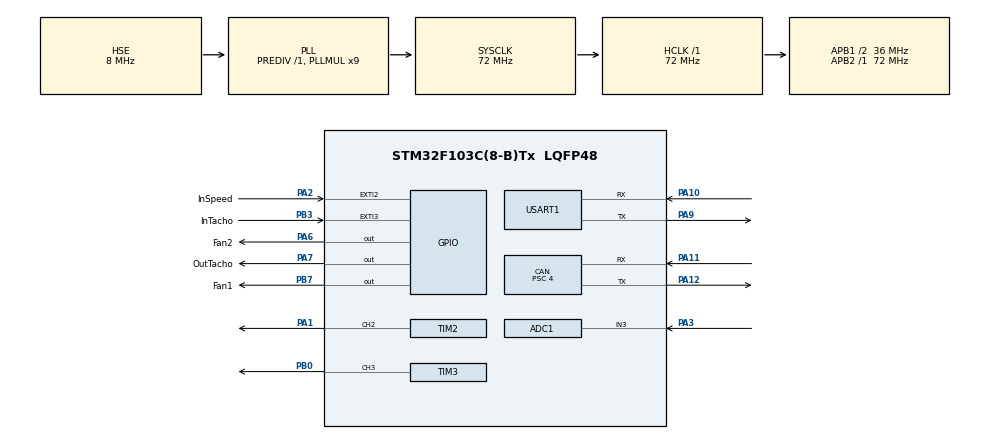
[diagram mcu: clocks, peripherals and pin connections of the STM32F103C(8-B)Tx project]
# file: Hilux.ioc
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ADC1.Channel-0\#ChannelRegularConversion=ADC_CHANNEL_3
ADC1.NbrOfConversionFlag=1
ADC1.Rank-0\#ChannelRegularConversion=1
ADC1.SamplingTime-0\#ChannelRegularConversion=ADC_SAMPLETIME_239CYCLES_5
ADC1.master=1
CAN.AWUM=ENABLE
CAN.BS1=CAN_BS1_15TQ
CAN.BS2=CAN_BS2_2TQ
CAN.CalculateBaudRate=500000
CAN.CalculateTimeBit=2000
CAN.CalculateTimeQuantum=111.11111111111111
CAN.NART=ENABLE
CAN.Prescaler=4
CAN.TTCM=ENABLE
CAN.TXFP=ENABLE
FREERTOS.Tasks01=defaultTask,24,128,StartDefaultTask,Default,NULL,Static,defaultTaskBuffer,defaultTaskControlBlock;myTask02,24,128,StartTask02,Default,NULL,Static,myTask02Buffer,myTask02ControlBlock;myTask03,24,128,StartTask03,Default,NULL,Static,myTask03Buffer,myTask03ControlBlock;myTask04,24,128,StartTask04,Default,NULL,Static,myTask04Buffer,myTask04ControlBlock;myTask05,24,128,StartTask05,Default,NULL,Static,myTask05Buffer,myTask05ControlBlock;myTask06,24,128,StartTask06,Default,NULL,Static,myTask06Buffer,myTask06ControlBlock;myTask07,24,128,StartTask07,Default,NULL,Static,myTask07Buffer,myTask07ControlBlock;myTask08,24,128,StartTask08,Default,NULL,Static,myTask08Buffer,myTask08ControlBlock
FREERTOS.configUSE_NEWLIB_REENTRANT=1
Mcu.Family=STM32F1
Mcu.Name=STM32F103C(8-B)Tx
Mcu.Package=LQFP48
NVIC.ADC1_2_IRQn=true\:5\:0\:false\:false\:true\:true\:true\:true\:true
NVIC.EXTI2_IRQn=true\:5\:0\:false\:false\:true\:true\:true\:true\:true
NVIC.EXTI3_IRQn=true\:5\:0\:false\:false\:true\:true\:true\:true\:true
NVIC.PriorityGroup=NVIC_PRIORITYGROUP_4
NVIC.TIM2_IRQn=true\:5\:0\:false\:false\:true\:true\:true\:true\:true
NVIC.TIM3_IRQn=true\:5\:0\:false\:false\:true\:true\:true\:true\:true
NVIC.TIM4_IRQn=true\:15\:0\:false\:false\:true\:false\:false\:true\:true
NVIC.TimeBase=TIM4_IRQn
NVIC.TimeBaseIP=TIM4
NVIC.USB_LP_CAN1_RX0_IRQn=true\:5\:0\:false\:false\:true\:true\:true\:true\:true
PA1.GPIO_Speed=GPIO_SPEED_FREQ_HIGH
PA1.Signal=S_TIM2_CH2
PA10.Mode=Asynchronous
PA10.Signal=USART1_RX
PA11.Mode=CAN_Activate
PA11.Signal=CAN_RX
PA12.Mode=CAN_Activate
PA12.Signal=CAN_TX
PA13.Mode=Serial_Wire
PA13.Signal=SYS_JTMS-SWDIO
PA14.Mode=Serial_Wire
PA14.Signal=SYS_JTCK-SWCLK
PA2.GPIO_Label=InSpeed
PA2.Signal=GPXTI2
PA3.Signal=ADCx_IN3
PA6.GPIO_Label=Fan2
PA6.Signal=GPIO_Output
PA7.GPIO_Label=OutTacho
PA7.GPIO_Speed=GPIO_SPEED_FREQ_LOW
PA7.PinState=GPIO_PIN_SET
PA7.Signal=GPIO_Output
PA9.Mode=Asynchronous
PA9.Signal=USART1_TX
PB0.Signal=S_TIM3_CH3
PB3.GPIO_Label=InTacho
PB3.GPIO_ModeDefaultEXTI=GPIO_MODE_IT_FALLING
PB3.GPIO_PuPd=GPIO_PULLUP
PB3.Signal=GPXTI3
PB7.GPIO_Label=Fan1
PB7.Signal=GPIO_Output
PD0-OSC_IN.Mode=HSE-External-Oscillator
PD0-OSC_IN.Signal=RCC_OSC_IN
PD1-OSC_OUT.Mode=HSE-External-Oscillator
PD1-OSC_OUT.Signal=RCC_OSC_OUT
ProjectManager.HeapSize=0x200
ProjectManager.StackSize=0x400
ProjectManager.TargetToolchain=STM32CubeIDE
RCC.ADCPresc=RCC_ADCPCLK2_DIV6
RCC.AHBFreq_Value=72000000
RCC.APB1CLKDivider=RCC_HCLK_DIV2
RCC.APB1Freq_Value=36000000
RCC.APB1TimFreq_Value=72000000
RCC.APB2Freq_Value=72000000
RCC.APB2TimFreq_Value=72000000
RCC.HCLKFreq_Value=72000000
RCC.PLLMUL=RCC_PLL_MUL9
RCC.PLLSourceVirtual=RCC_PLLSOURCE_HSE
RCC.SYSCLKFreq_VALUE=72000000
RCC.SYSCLKSource=RCC_SYSCLKSOURCE_PLLCLK
RCC.USBFreq_Value=72000000
SH.ADCx_IN3.0=ADC1_IN3,IN3
SH.S_TIM2_CH2.0=TIM2_CH2,PWM Generation2 CH2
SH.S_TIM3_CH3.0=TIM3_CH3,PWM Generation3 CH3
TIM1.AutoReloadPreload=TIM_AUTORELOAD_PRELOAD_DISABLE
TIM1.Prescaler=719
TIM2.AutoReloadPreload=TIM_AUTORELOAD_PRELOAD_ENABLE
TIM2.Channel-PWM\ Generation2\ CH2=TIM_CHANNEL_2
TIM2.Period=65000
TIM2.Prescaler=43
TIM2.Pulse-PWM\ Generation2\ CH2=47000
TIM3.AutoReloadPreload=TIM_AUTORELOAD_PRELOAD_ENABLE
TIM3.Channel-PWM\ Generation3\ CH3=TIM_CHANNEL_3
TIM3.OCFastMode_PWM-PWM\ Generation3\ CH3=TIM_OCFAST_ENABLE
TIM3.Period=63488
TIM3.Prescaler=470
USART1.VirtualMode=VM_ASYNC
VP_FREERTOS_VS_CMSIS_V2.Mode=CMSIS_V2
VP_SYS_VS_tim4.Mode=TIM4
VP_TIM1_VS_ClockSourceINT.Mode=Internal
VP_TIM2_VS_ClockSourceINT.Mode=Internal
VP_TIM3_VS_ClockSourceINT.Mode=Internal
board=custom

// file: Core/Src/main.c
/* USER CODE BEGIN Header */
/**
 ******************************************************************************
 * @file           : main.c
 * @brief          : Main program body
 ******************************************************************************
 * @attention
 *
 * Copyright (c) 2023 STMicroelectronics.
 * All rights reserved.
 *
 * This software is licensed under terms that can be found in the LICENSE file
 * in the root directory of this software component.
 * If no LICENSE file comes with this software, it is provided AS-IS.
 *
 ******************************************************************************
 */
/* USER CODE END Header */
#include "main.h"
#include "cmsis_os.h"

/* USER CODE BEGIN Includes */
#include "stdio.h"
struct tps_rpm {
  uint8_t tmp;
  uint16_t rpm;
  uint16_t count;
  int procent;
  uint16_t adc;
  double coef;
} tps_rpm;
#include "SMA_filter_lib.h"
uint16_t SMA_Filter_Buffer_1[SMA_FILTER_ORDER] = {
    0,
};
uint16_t SMA_Filter_Buffer_2[SMA_FILTER_ORDER] = {
    0,
};
uint16_t ADC_SMA_Data[2] = {
    0,
};
uint16_t ADC_RAW_Data[2] = { 0, };
uint8_t transmitUART[30];
uint8_t AC = 0;
uint8_t debug = 0;
/* USER CODE END Includes */

typedef StaticTask_t osStaticThreadDef_t;
/* USER CODE BEGIN PTD */
// Скалинг датчика температуры
// Первое значение - температура в градусах+40
// второе значение - ADC, которое считается по формуле
double scale_temp[2][28] = {
    {160, 150, 140, 134, 133, 132, 131, 130, 129, 128, 126,  124,  122,  121,  118, 110, 102,  96,   88,   80,   72,   64,   56,   48,   40,   32,   24,    0},
    {200, 250, 265, 295, 310, 325, 330, 325, 331, 362, 377,  400,  415,  419,  470, 615, 765, 915, 1065, 1215, 1415, 1615, 1695, 1815, 1965, 2115, 2265, 2650}};

/* USER CODE END PTD */

ADC_HandleTypeDef hadc1;

CAN_HandleTypeDef hcan;

TIM_HandleTypeDef htim1;
TIM_HandleTypeDef htim2;
TIM_HandleTypeDef htim3;

UART_HandleTypeDef huart1;

/* Definitions for defaultTask */
osThreadId_t defaultTaskHandle;
uint32_t defaultTaskBuffer[ 128 ];
osStaticThreadDef_t defaultTaskControlBlock;
const osThreadAttr_t defaultTask_attributes = {
  .name = "defaultTask",
  .cb_mem = &defaultTaskControlBlock,
  .cb_size = sizeof(defaultTaskControlBlock),
  .stack_mem = &defaultTaskBuffer[0],
  .stack_size = sizeof(defaultTaskBuffer),
  .priority = (osPriority_t) osPriorityNormal,
};
/* Definitions for myTask02 */
osThreadId_t myTask02Handle;
uint32_t myTask02Buffer[ 128 ];
osStaticThreadDef_t myTask02ControlBlock;
const osThreadAttr_t myTask02_attributes = {
  .name = "myTask02",
  .cb_mem = &myTask02ControlBlock,
  .cb_size = sizeof(myTask02ControlBlock),
  .stack_mem = &myTask02Buffer[0],
  .stack_size = sizeof(myTask02Buffer),
  .priority = (osPriority_t) osPriorityNormal,
};
/* Definitions for myTask03 */
osThreadId_t myTask03Handle;
uint32_t myTask03Buffer[ 128 ];
osStaticThreadDef_t myTask03ControlBlock;
const osThreadAttr_t myTask03_attributes = {
  .name = "myTask03",
  .cb_mem = &myTask03ControlBlock,
  .cb_size = sizeof(myTask03ControlBlock),
  .stack_mem = &myTask03Buffer[0],
  .stack_size = sizeof(myTask03Buffer),
  .priority = (osPriority_t) osPriorityNormal,
};
/* Definitions for myTask04 */
osThreadId_t myTask04Handle;
uint32_t myTask04Buffer[ 128 ];
osStaticThreadDef_t myTask04ControlBlock;
const osThreadAttr_t myTask04_attributes = {
  .name = "myTask04",
  .cb_mem = &myTask04ControlBlock,
  .cb_size = sizeof(myTask04ControlBlock),
  .stack_mem = &myTask04Buffer[0],
  .stack_size = sizeof(myTask04Buffer),
  .priority = (osPriority_t) osPriorityNormal,
};
/* Definitions for myTask05 */
osThreadId_t myTask05Handle;
uint32_t myTask05Buffer[ 128 ];
osStaticThreadDef_t myTask05ControlBlock;
const osThreadAttr_t myTask05_attributes = {
  .name = "myTask05",
  .cb_mem = &myTask05ControlBlock,
  .cb_size = sizeof(myTask05ControlBlock),
  .stack_mem = &myTask05Buffer[0],
  .stack_size = sizeof(myTask05Buffer),
  .priority = (osPriority_t) osPriorityNormal,
};
/* Definitions for myTask06 */
osThreadId_t myTask06Handle;
uint32_t myTask06Buffer[ 128 ];
osStaticThreadDef_t myTask06ControlBlock;
const osThreadAttr_t myTask06_attributes = {
  .name = "myTask06",
  .cb_mem = &myTask06ControlBlock,
  .cb_size = sizeof(myTask06ControlBlock),
  .stack_mem = &myTask06Buffer[0],
  .stack_size = sizeof(myTask06Buffer),
  .priority = (osPriority_t) osPriorityNormal,
};
/* Definitions for myTask07 */
osThreadId_t myTask07Handle;
uint32_t myTask07Buffer[ 128 ];
osStaticThreadDef_t myTask07ControlBlock;
const osThreadAttr_t myTask07_attributes = {
  .name = "myTask07",
  .cb_mem = &myTask07ControlBlock,
  .cb_size = sizeof(myTask07ControlBlock),
  .stack_mem = &myTask07Buffer[0],
  .stack_size = sizeof(myTask07Buffer),
  .priority = (osPriority_t) osPriorityNormal,
};
/* Definitions for myTask08 */
osThreadId_t myTask08Handle;
uint32_t myTask08Buffer[ 128 ];
osStaticThreadDef_t myTask08ControlBlock;
const osThreadAttr_t myTask08_attributes = {
  .name = "myTask08",
  .cb_mem = &myTask08ControlBlock,
  .cb_size = sizeof(myTask08ControlBlock),
  .stack_mem = &myTask08Buffer[0],
  .stack_size = sizeof(myTask08Buffer),
  .priority = (osPriority_t) osPriorityNormal,
};

void SystemClock_Config(void);
static void MX_GPIO_Init(void);
static void MX_CAN_Init(void);
static void MX_USART1_UART_Init(void);
static void MX_ADC1_Init(void);
static void MX_TIM2_Init(void);
static void MX_TIM3_Init(void);
static void MX_TIM1_Init(void);
void StartDefaultTask(void *argument);
void StartTask02(void *argument);
void StartTask03(void *argument);
void StartTask04(void *argument);
void StartTask05(void *argument);
void StartTask06(void *argument);
void StartTask07(void *argument);
void StartTask08(void *argument);

/* USER CODE BEGIN 0 */
CAN_RxHeaderTypeDef rxHeader;  // CAN Bus Transmit Header
CAN_TxHeaderTypeDef txHeader;  // CAN Bus Receive Header
uint8_t canRx[8];              // CAN Bus Receive Buffer
CAN_FilterTypeDef canfil;      // CAN Bus Filter
uint32_t canMailbox;           // CAN Bus Mail box variable
uint8_t byte_6_7[2] = {0};

uint8_t can_send_38A[5] = {0x0C, 0, 0, 0, 0};
uint8_t can_send_4C1[8] = {0x01, 0, 0x04, 0x04, 0, 0, 0, 0};
uint8_t can_send_2C4[8] = {0, 0, 0, 0, 0, 0, 0, 0};
uint8_t rxbuffer[8];
uint8_t on_off = 0;
/* USER CODE END 0 */

int main(void)
{

  /* MCU Configuration--------------------------------------------------------*/

  /* Reset of all peripherals, Initializes the Flash interface and the Systick. */
  HAL_Init();

  /* Configure the system clock */
  SystemClock_Config();

  /* Initialize all configured peripherals */
  MX_GPIO_Init();
  MX_CAN_Init();
  MX_USART1_UART_Init();
  MX_ADC1_Init();
  MX_TIM2_Init();
  MX_TIM3_Init();
  MX_TIM1_Init();
  /* USER CODE BEGIN 2 */
  /////////////////////////////////////---CAN---/////////////////////////////////
  canfil.FilterBank = 0;
  canfil.FilterMode = CAN_FILTERMODE_IDMASK;
  canfil.FilterFIFOAssignment = CAN_RX_FIFO0;
  canfil.FilterIdHigh = 0x0000;
  canfil.FilterIdLow = 0x0000;
  canfil.FilterMaskIdHigh = 0;
  canfil.FilterMaskIdLow = 0;
  canfil.FilterScale = CAN_FILTERSCALE_32BIT;
  canfil.FilterActivation = ENABLE;
  canfil.SlaveStartFilterBank = 14;

  HAL_CAN_ConfigFilter(&hcan, &canfil);
  HAL_CAN_Start(&hcan);
  HAL_CAN_ActivateNotification(
      &hcan, CAN_IT_RX_FIFO0_MSG_PENDING | CAN_IT_TX_MAILBOX_EMPTY);
  /////////////////////////////////////---CAN---/////////////////////////////////
  HAL_ADCEx_Calibration_Start(&hadc1);
  HAL_TIM_Base_Start_IT(&htim2);
  HAL_TIM_Base_Start_IT(&htim3);
  HAL_TIM_PWM_Start(&htim3, TIM_CHANNEL_3);
  HAL_TIM_IC_Start_IT(&htim2, TIM_CHANNEL_2);

//  HAL_TIM_Start_IT(&htim1, TIM_CHANNEL_1);
//  HAL_TIMEx_PWMN_Start(&htim1, TIM_CHANNEL_1);
  // uint8_t transmitUART[15];
  /* USER CODE END 2 */

  /* Init scheduler */
  osKernelInitialize();

  /* Create the thread(s) */
  /* creation of defaultTask */
  defaultTaskHandle = osThreadNew(StartDefaultTask, NULL, &defaultTask_attributes);

  /* creation of myTask02 */
  myTask02Handle = osThreadNew(StartTask02, NULL, &myTask02_attributes);

  /* creation of myTask03 */
  myTask03Handle = osThreadNew(StartTask03, NULL, &myTask03_attributes);

  /* creation of myTask04 */
  myTask04Handle = osThreadNew(StartTask04, NULL, &myTask04_attributes);

  /* creation of myTask05 */
  myTask05Handle = osThreadNew(StartTask05, NULL, &myTask05_attributes);

  /* creation of myTask06 */
  myTask06Handle = osThreadNew(StartTask06, NULL, &myTask06_attributes);

  /* creation of myTask07 */
  myTask07Handle = osThreadNew(StartTask07, NULL, &myTask07_attributes);

  /* creation of myTask08 */
  myTask08Handle = osThreadNew(StartTask08, NULL, &myTask08_attributes);

  /* Start scheduler */
  osKernelStart();

  /* We should never get here as control is now taken by the scheduler */
  /* Infinite loop */
  while (1) {

  }
}

void SystemClock_Config(void)
{
  RCC_OscInitTypeDef RCC_OscInitStruct = {0};
  RCC_ClkInitTypeDef RCC_ClkInitStruct = {0};
  RCC_PeriphCLKInitTypeDef PeriphClkInit = {0};

  /** Initializes the RCC Oscillators according to the specified parameters
  * in the RCC_OscInitTypeDef structure.
  */
  RCC_OscInitStruct.OscillatorType = RCC_OSCILLATORTYPE_HSE;
  RCC_OscInitStruct.HSEState = RCC_HSE_ON;
  RCC_OscInitStruct.HSEPredivValue = RCC_HSE_PREDIV_DIV1;
  RCC_OscInitStruct.HSIState = RCC_HSI_ON;
  RCC_OscInitStruct.PLL.PLLState = RCC_PLL_ON;
  RCC_OscInitStruct.PLL.PLLSource = RCC_PLLSOURCE_HSE;
  RCC_OscInitStruct.PLL.PLLMUL = RCC_PLL_MUL9;
  if (HAL_RCC_OscConfig(&RCC_OscInitStruct) != HAL_OK)
  {
    Error_Handler();
  }

  /** Initializes the CPU, AHB and APB buses clocks
  */
  RCC_ClkInitStruct.ClockType = RCC_CLOCKTYPE_HCLK|RCC_CLOCKTYPE_SYSCLK
                              |RCC_CLOCKTYPE_PCLK1|RCC_CLOCKTYPE_PCLK2;
  RCC_ClkInitStruct.SYSCLKSource = RCC_SYSCLKSOURCE_PLLCLK;
  RCC_ClkInitStruct.AHBCLKDivider = RCC_SYSCLK_DIV1;
  RCC_ClkInitStruct.APB1CLKDivider = RCC_HCLK_DIV2;
  RCC_ClkInitStruct.APB2CLKDivider = RCC_HCLK_DIV1;

  if (HAL_RCC_ClockConfig(&RCC_ClkInitStruct, FLASH_LATENCY_2) != HAL_OK)
  {
    Error_Handler();
  }
  PeriphClkInit.PeriphClockSelection = RCC_PERIPHCLK_ADC;
  PeriphClkInit.AdcClockSelection = RCC_ADCPCLK2_DIV6;
  if (HAL_RCCEx_PeriphCLKConfig(&PeriphClkInit) != HAL_OK)
  {
    Error_Handler();
  }
}

static void MX_ADC1_Init(void)
{

  ADC_ChannelConfTypeDef sConfig = {0};

  /** Common config
  */
  hadc1.Instance = ADC1;
  hadc1.Init.ScanConvMode = ADC_SCAN_DISABLE;
  hadc1.Init.ContinuousConvMode = DISABLE;
  hadc1.Init.DiscontinuousConvMode = DISABLE;
  hadc1.Init.ExternalTrigConv = ADC_SOFTWARE_START;
  hadc1.Init.DataAlign = ADC_DATAALIGN_RIGHT;
  hadc1.Init.NbrOfConversion = 1;
  if (HAL_ADC_Init(&hadc1) != HAL_OK)
  {
    Error_Handler();
  }

  /** Configure Regular Channel
  */
  sConfig.Channel = ADC_CHANNEL_3;
  sConfig.Rank = ADC_REGULAR_RANK_1;
  sConfig.SamplingTime = ADC_SAMPLETIME_239CYCLES_5;
  if (HAL_ADC_ConfigChannel(&hadc1, &sConfig) != HAL_OK)
  {
    Error_Handler();
  }

}

static void MX_CAN_Init(void)
{

  hcan.Instance = CAN1;
  hcan.Init.Prescaler = 4;
  hcan.Init.Mode = CAN_MODE_NORMAL;
  hcan.Init.SyncJumpWidth = CAN_SJW_1TQ;
  hcan.Init.TimeSeg1 = CAN_BS1_15TQ;
  hcan.Init.TimeSeg2 = CAN_BS2_2TQ;
  hcan.Init.TimeTriggeredMode = ENABLE;
  hcan.Init.AutoBusOff = DISABLE;
  hcan.Init.AutoWakeUp = ENABLE;
  hcan.Init.AutoRetransmission = ENABLE;
  hcan.Init.ReceiveFifoLocked = DISABLE;
  hcan.Init.TransmitFifoPriority = ENABLE;
  if (HAL_CAN_Init(&hcan) != HAL_OK)
  {
    Error_Handler();
  }

}

static void MX_TIM1_Init(void)
{

  TIM_ClockConfigTypeDef sClockSourceConfig = {0};
  TIM_MasterConfigTypeDef sMasterConfig = {0};

  htim1.Instance = TIM1;
  htim1.Init.Prescaler = 719;
  htim1.Init.CounterMode = TIM_COUNTERMODE_UP;
  htim1.Init.Period = 65535;
  htim1.Init.ClockDivision = TIM_CLOCKDIVISION_DIV1;
  htim1.Init.RepetitionCounter = 0;
  htim1.Init.AutoReloadPreload = TIM_AUTORELOAD_PRELOAD_DISABLE;
  if (HAL_TIM_Base_Init(&htim1) != HAL_OK)
  {
    Error_Handler();
  }
  sClockSourceConfig.ClockSource = TIM_CLOCKSOURCE_INTERNAL;
  if (HAL_TIM_ConfigClockSource(&htim1, &sClockSourceConfig) != HAL_OK)
  {
    Error_Handler();
  }
  sMasterConfig.MasterOutputTrigger = TIM_TRGO_RESET;
  sMasterConfig.MasterSlaveMode = TIM_MASTERSLAVEMODE_DISABLE;
  if (HAL_TIMEx_MasterConfigSynchronization(&htim1, &sMasterConfig) != HAL_OK)
  {
    Error_Handler();
  }

}

static void MX_TIM2_Init(void)
{

  TIM_ClockConfigTypeDef sClockSourceConfig = {0};
  TIM_MasterConfigTypeDef sMasterConfig = {0};
  TIM_OC_InitTypeDef sConfigOC = {0};

  htim2.Instance = TIM2;
  htim2.Init.Prescaler = 43;
  htim2.Init.CounterMode = TIM_COUNTERMODE_UP;
  htim2.Init.Period = 65000;
  htim2.Init.ClockDivision = TIM_CLOCKDIVISION_DIV1;
  htim2.Init.AutoReloadPreload = TIM_AUTORELOAD_PRELOAD_ENABLE;
  if (HAL_TIM_Base_Init(&htim2) != HAL_OK)
  {
    Error_Handler();
  }
  sClockSourceConfig.ClockSource = TIM_CLOCKSOURCE_INTERNAL;
  if (HAL_TIM_ConfigClockSource(&htim2, &sClockSourceConfig) != HAL_OK)
  {
    Error_Handler();
  }
  if (HAL_TIM_PWM_Init(&htim2) != HAL_OK)
  {
    Error_Handler();
  }
  sMasterConfig.MasterOutputTrigger = TIM_TRGO_RESET;
  sMasterConfig.MasterSlaveMode = TIM_MASTERSLAVEMODE_DISABLE;
  if (HAL_TIMEx_MasterConfigSynchronization(&htim2, &sMasterConfig) != HAL_OK)
  {
    Error_Handler();
  }
  sConfigOC.OCMode = TIM_OCMODE_PWM1;
  sConfigOC.Pulse = 65535;
  sConfigOC.OCPolarity = TIM_OCPOLARITY_HIGH;
  sConfigOC.OCFastMode = TIM_OCFAST_DISABLE;
  if (HAL_TIM_PWM_ConfigChannel(&htim2, &sConfigOC, TIM_CHANNEL_2) != HAL_OK)
  {
    Error_Handler();
  }
  HAL_TIM_MspPostInit(&htim2);

}

static void MX_TIM3_Init(void)
{

  TIM_ClockConfigTypeDef sClockSourceConfig = {0};
  TIM_MasterConfigTypeDef sMasterConfig = {0};
  TIM_OC_InitTypeDef sConfigOC = {0};

  htim3.Instance = TIM3;
  htim3.Init.Prescaler = 470;
  htim3.Init.CounterMode = TIM_COUNTERMODE_UP;
  htim3.Init.Period = 63488;
  htim3.Init.ClockDivision = TIM_CLOCKDIVISION_DIV1;
  htim3.Init.AutoReloadPreload = TIM_AUTORELOAD_PRELOAD_ENABLE;
  if (HAL_TIM_Base_Init(&htim3) != HAL_OK)
  {
    Error_Handler();
  }
  sClockSourceConfig.ClockSource = TIM_CLOCKSOURCE_INTERNAL;
  if (HAL_TIM_ConfigClockSource(&htim3, &sClockSourceConfig) != HAL_OK)
  {
    Error_Handler();
  }
  if (HAL_TIM_PWM_Init(&htim3) != HAL_OK)
  {
    Error_Handler();
  }
  sMasterConfig.MasterOutputTrigger = TIM_TRGO_RESET;
  sMasterConfig.MasterSlaveMode = TIM_MASTERSLAVEMODE_DISABLE;
  if (HAL_TIMEx_MasterConfigSynchronization(&htim3, &sMasterConfig) != HAL_OK)
  {
    Error_Handler();
  }
  sConfigOC.OCMode = TIM_OCMODE_PWM1;
  sConfigOC.Pulse = 1200;
  sConfigOC.OCPolarity = TIM_OCPOLARITY_HIGH;
  sConfigOC.OCFastMode = TIM_OCFAST_ENABLE;
  if (HAL_TIM_PWM_ConfigChannel(&htim3, &sConfigOC, TIM_CHANNEL_3) != HAL_OK)
  {
    Error_Handler();
  }
  HAL_TIM_MspPostInit(&htim3);

}

static void MX_USART1_UART_Init(void)
{

  huart1.Instance = USART1;
  huart1.Init.BaudRate = 115200;
  huart1.Init.WordLength = UART_WORDLENGTH_8B;
  huart1.Init.StopBits = UART_STOPBITS_1;
  huart1.Init.Parity = UART_PARITY_NONE;
  huart1.Init.Mode = UART_MODE_TX_RX;
  huart1.Init.HwFlowCtl = UART_HWCONTROL_NONE;
  huart1.Init.OverSampling = UART_OVERSAMPLING_16;
  if (HAL_UART_Init(&huart1) != HAL_OK)
  {
    Error_Handler();
  }

}

static void MX_GPIO_Init(void)
{
  GPIO_InitTypeDef GPIO_InitStruct = {0};

  /* GPIO Ports Clock Enable */
  __HAL_RCC_GPIOD_CLK_ENABLE();
  __HAL_RCC_GPIOA_CLK_ENABLE();
  __HAL_RCC_GPIOB_CLK_ENABLE();

  /*Configure GPIO pin Output Level */
  HAL_GPIO_WritePin(Fan2_GPIO_Port, Fan2_Pin, GPIO_PIN_RESET);

  /*Configure GPIO pin Output Level */
  HAL_GPIO_WritePin(OutTacho_GPIO_Port, OutTacho_Pin, GPIO_PIN_SET);

  /*Configure GPIO pin Output Level */
  HAL_GPIO_WritePin(Fan1_GPIO_Port, Fan1_Pin, GPIO_PIN_RESET);

  /*Configure GPIO pin : InSpeed_Pin */
  GPIO_InitStruct.Pin = InSpeed_Pin;
  GPIO_InitStruct.Mode = GPIO_MODE_IT_RISING;
  GPIO_InitStruct.Pull = GPIO_NOPULL;
  HAL_GPIO_Init(InSpeed_GPIO_Port, &GPIO_InitStruct);

  /*Configure GPIO pins : Fan2_Pin OutTacho_Pin */
  GPIO_InitStruct.Pin = Fan2_Pin|OutTacho_Pin;
  GPIO_InitStruct.Mode = GPIO_MODE_OUTPUT_PP;
  GPIO_InitStruct.Pull = GPIO_NOPULL;
  GPIO_InitStruct.Speed = GPIO_SPEED_FREQ_LOW;
  HAL_GPIO_Init(GPIOA, &GPIO_InitStruct);

  /*Configure GPIO pin : InTacho_Pin */
  GPIO_InitStruct.Pin = InTacho_Pin;
  GPIO_InitStruct.Mode = GPIO_MODE_IT_FALLING;
  GPIO_InitStruct.Pull = GPIO_PULLUP;
  HAL_GPIO_Init(InTacho_GPIO_Port, &GPIO_InitStruct);

  /*Configure GPIO pin : Fan1_Pin */
  GPIO_InitStruct.Pin = Fan1_Pin;
  GPIO_InitStruct.Mode = GPIO_MODE_OUTPUT_PP;
  GPIO_InitStruct.Pull = GPIO_NOPULL;
  GPIO_InitStruct.Speed = GPIO_SPEED_FREQ_LOW;
  HAL_GPIO_Init(Fan1_GPIO_Port, &GPIO_InitStruct);

  /* EXTI interrupt init*/
  HAL_NVIC_SetPriority(EXTI2_IRQn, 5, 0);
  HAL_NVIC_EnableIRQ(EXTI2_IRQn);

  HAL_NVIC_SetPriority(EXTI3_IRQn, 5, 0);
  HAL_NVIC_EnableIRQ(EXTI3_IRQn);

}

/* USER CODE BEGIN 4 */

uint8_t TachoCount = 1;
uint8_t delitel_tacho = 2;  // Делитель тахометра - 2 - было четыре цилиндра, стало 6
uint8_t SpeedCount = 0;
uint8_t delitel = 10;  // Делитель спидометра
//void HAL_TIM_IC_CaptureCallback(TIM_HandleTypeDef *htim) {
//  if (htim->Instance == TIM2) {
//    if (htim->Channel == HAL_TIM_ACTIVE_CHANNEL_2) {
//      tps_rpm.count = HAL_TIM_ReadCapturedValue(&htim2, TIM_CHANNEL_2);
//      TIM2->CNT = 0;
//    }
//  }
//}

void HAL_GPIO_EXTI_Callback(uint16_t InSpeed) {
//  if (InSpeed == InSpeed_Pin) {
//    if (SpeedCount == delitel){
//    	HAL_GPIO_TogglePin(OutSpeed_GPIO_Port, OutSpeed_Pin);
//    }
//    if (SpeedCount >= delitel){
//    	SpeedCount = 0;
//    }
//    SpeedCount = SpeedCount + 1;
//  } else
	  if (InSpeed == InTacho_Pin) {
	  tps_rpm.count++;
	  if (TachoCount < 5)
	    HAL_GPIO_TogglePin(OutTacho_GPIO_Port, OutTacho_Pin);
	  if (TachoCount == 6) TachoCount = 0;
	  TachoCount = TachoCount + 1;
  } else {
    __NOP();
  }
}
/* USER CODE END 4 */

void StartDefaultTask(void *argument)
{
  /* USER CODE BEGIN 5 */
  /* Infinite loop */
  for (;;) {
    osDelay(1000);
  }
  /* USER CODE END 5 */
}

void StartTask02(void *argument)
{
  /* USER CODE BEGIN StartTask02 */
  uint8_t init = 0;

  /* Infinite loop */
  for (;;) {
		txHeader.IDE = CAN_ID_STD;
		txHeader.RTR = CAN_RTR_DATA;
		txHeader.TransmitGlobalTime = DISABLE;
		if (!init) {
			txHeader.DLC = 8;
			txHeader.StdId = 0x2C4;
			HAL_CAN_AddTxMessage(&hcan, &txHeader, can_send_2C4, &canMailbox);
			osDelay(1);
			txHeader.DLC = 8;
			txHeader.StdId = 0x4C1;
			HAL_CAN_AddTxMessage(&hcan, &txHeader, can_send_4C1, &canMailbox);
			osDelay(1);
			txHeader.DLC = 5;
			txHeader.StdId = 0x38A;
			HAL_CAN_AddTxMessage(&hcan, &txHeader, can_send_38A, &canMailbox);
			osDelay(1);
			txHeader.DLC = 5;
			can_send_38A[0] = 0x08;
			can_send_38A[1] = 0x04;
			txHeader.StdId = 0x38A;
			HAL_CAN_AddTxMessage(&hcan, &txHeader, can_send_38A, &canMailbox);
			osDelay(2);
			txHeader.DLC = 8;
			txHeader.StdId = 0x2C4;
			HAL_CAN_AddTxMessage(&hcan, &txHeader, can_send_2C4, &canMailbox);
			osDelay(24);
			HAL_CAN_AddTxMessage(&hcan, &txHeader, can_send_2C4, &canMailbox);
			osDelay(24);
			HAL_CAN_AddTxMessage(&hcan, &txHeader, can_send_2C4, &canMailbox);
			osDelay(24);
			HAL_CAN_AddTxMessage(&hcan, &txHeader, can_send_2C4, &canMailbox);
			osDelay(24);
			init++;
		}
		txHeader.DLC = 8;
		txHeader.StdId = 0x2C4;
		HAL_CAN_AddTxMessage(&hcan, &txHeader, can_send_2C4, &canMailbox);
		osDelay(24);
		if (tps_rpm.count > 100) {
			can_send_2C4[0] = 0x03;
			can_send_2C4[1] = 0xc8;
		} else {
			can_send_2C4[0] = 0;
			can_send_2C4[1] = 0;
		}
	}
  /* USER CODE END StartTask02 */
}

/* USER CODE BEGIN Header_StartTask03 */

// ADC read an FAN remote

double calc_temp(double adc) {  // �?нтерполяция температуры
	uint8_t size = sizeof(scale_temp[0]) / sizeof(double);
	double second = adc;
	double first = 0;
	uint8_t i = 0;

	/* Поиск первого числа */
	for (i = 0; i < size; i++) {
		if (scale_temp[1][i] == second) {
			first = scale_temp[0][i];
			break;
		} else if (scale_temp[1][i] > second) {
			double x1 = scale_temp[1][i - 1];
			double x2 = scale_temp[1][i];
			double y1 = scale_temp[0][i - 1];
			double y2 = scale_temp[0][i];
			first = y1 + ((y2 - y1) / (x2 - x1)) * (second - x1);
			break;
		}
	}
	return first;
}
/**
 * @brief Function implementing the myTask03 thread.
 * @param argument: Not used
 * @retval None
 */
/* USER CODE END Header_StartTask03 */
void StartTask03(void *argument)
{
  /* USER CODE BEGIN StartTask03 */
  uint8_t x = 0;
  /* Infinite loop */
	for (;;) {
		HAL_ADC_Start(&hadc1);
		HAL_ADC_PollForConversion(&hadc1, 100);
		ADC_RAW_Data[0] = HAL_ADC_GetValue(&hadc1);
		HAL_ADC_Stop(&hadc1);

		if (x > 40) {
			tps_rpm.tmp = calc_temp((double) ADC_SMA_Data[0]);
			tps_rpm.procent = tps_rpm.tmp - 67;
			if (tps_rpm.procent < 1){
				TIM3->CCR3 = 0;
				debug = 1;
			}
			else {
				TIM3->CCR3 = 63488 / 100 * tps_rpm.procent;
				debug = 2;
			}
		} else {
			x++;
			TIM3->CCR3 = 0;
			debug = 3;
		}

		if (tps_rpm.tmp - 40 > 93)
			on_off = 1; // Включение вентилятора
		if (tps_rpm.tmp - 40 < 90)
			on_off = 0;  // Выключение вентилятора
		if (byte_6_7[0] == 0xFF || byte_6_7[0] == 0xFF)
			on_off = 1; // Включение вентилятора по команде кондиционера
		osDelay(50);
	}
  /* USER CODE END StartTask03 */
}

/* USER CODE BEGIN Header_StartTask04 */
void HAL_CAN_RxFifo0MsgPendingCallback(CAN_HandleTypeDef *hcan) {
	if (HAL_CAN_GetRxMessage(hcan, CAN_RX_FIFO0, &rxHeader, canRx) != HAL_OK) {
		// Reception Error //
		Error_Handler();
	}
	if ((rxHeader.StdId == 0x380) && (rxHeader.IDE == CAN_ID_STD)) {
		if (canRx[0] == 0x80)
			AC = 1;
		if (canRx[0] == 0)
			AC = 0;
	}
}
/////////////////////////////////////---ReadCAN---/////////////////////////////////
/**
 * @brief Function implementing the myTask04 thread.
 * @param argument: Not used
 * @retval None
 */
/* USER CODE END Header_StartTask04 */
void StartTask04(void *argument)
{
  /* USER CODE BEGIN StartTask04 */
  /* Infinite loop */
  for (;;) {
		HAL_UART_Transmit(&huart1, transmitUART,
				sprintf((char*) transmitUART, "%d\t%d\t%d\n",
						tps_rpm.tmp - 40, ADC_SMA_Data[0], debug), 0xfff);

		if (AC == 1 || on_off == 1) {
			HAL_GPIO_WritePin(Fan1_GPIO_Port, Fan1_Pin, SET);
			TIM2->CCR2 = 30000;
		} else {
			HAL_GPIO_WritePin(Fan1_GPIO_Port, Fan1_Pin, RESET);
			TIM2->CCR2 = 65535;
		}
		osDelay(500);
  }
  /* USER CODE END StartTask04 */
}

void StartTask05(void *argument)
{
  /* USER CODE BEGIN StartTask05 */

//  double buffer = 0;

  /* Infinite loop */
  for (;;) {

			ADC_SMA_Data[0] = SMA_FILTER_Get_Value(SMA_Filter_Buffer_1, &ADC_RAW_Data[0]);

    osDelay(30);
  }
  /* USER CODE END StartTask05 */
}

void StartTask06(void *argument)
{
  /* USER CODE BEGIN StartTask06 */

  /* Infinite loop */
  for(;;)
  {
		txHeader.IDE = CAN_ID_STD;
		txHeader.RTR = CAN_RTR_DATA;
		txHeader.TransmitGlobalTime = DISABLE;
		txHeader.DLC = 7;
		uint8_t can_send_3B4[7] = { 0, 0x08, 0, tps_rpm.tmp, 0, 0, 0 };
		txHeader.StdId = 0x3B4;
		HAL_CAN_AddTxMessage(&hcan, &txHeader, can_send_3B4, &canMailbox);
		osDelay(1024);
  }
  /* USER CODE END StartTask06 */
}

void StartTask07(void *argument)
{
  /* USER CODE BEGIN StartTask07 */

  /* Infinite loop */
  for(;;)
  {
		txHeader.IDE = CAN_ID_STD;
		txHeader.RTR = CAN_RTR_DATA;
		txHeader.TransmitGlobalTime = DISABLE;
		txHeader.DLC = 5;
		txHeader.StdId = 0x38A;
		if (AC == 1) {
			can_send_38A[0] = 0x00;
		} else {
			can_send_38A[0] = 0x08;
		}

		HAL_CAN_AddTxMessage(&hcan, &txHeader, can_send_38A, &canMailbox);
		osDelay(1152);
  }
  /* USER CODE END StartTask07 */
}

void StartTask08(void *argument)
{
  /* USER CODE BEGIN StartTask08 */

  /* Infinite loop */
  for(;;)
  {
		txHeader.IDE = CAN_ID_STD;
		txHeader.RTR = CAN_RTR_DATA;
		txHeader.TransmitGlobalTime = DISABLE;
		txHeader.DLC = 8;
		txHeader.StdId = 0x4C1;
		HAL_CAN_AddTxMessage(&hcan, &txHeader, can_send_4C1, &canMailbox);
		osDelay(910);
  }
  /* USER CODE END StartTask08 */
}

void HAL_TIM_PeriodElapsedCallback(TIM_HandleTypeDef *htim)
{
  /* USER CODE BEGIN Callback 0 */
  if (htim->Instance == TIM2) {
    tps_rpm.count = 0;
  }
  /* USER CODE END Callback 0 */
  if (htim->Instance == TIM4) {
    HAL_IncTick();
  }
}

void Error_Handler(void)
{
  __disable_irq();
  while (1) {
  }
}

#ifdef  USE_FULL_ASSERT
/**
  * @brief  Reports the name of the source file and the source line number
  *         where the assert_param error has occurred.
  * @param  file: pointer to the source file name
  * @param  line: assert_param error line source number
  * @retval None
  */
void assert_failed(uint8_t *file, uint32_t line)
{
  /* USER CODE BEGIN 6 */
  /* User can add his own implementation to report the file name and line
     number, ex: printf("Wrong parameters value: file %s on line %d\r\n", file,
     line) */
  /* USER CODE END 6 */
}
#endif /* USE_FULL_ASSERT */
